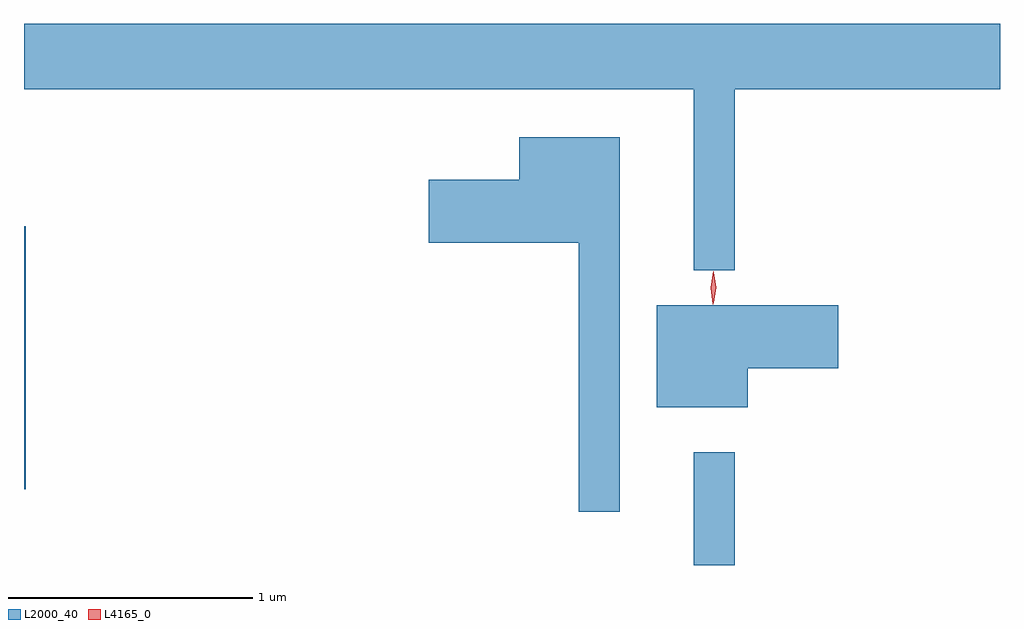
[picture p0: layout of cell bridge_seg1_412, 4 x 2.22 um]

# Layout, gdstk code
import gdstk
lib = gdstk.Library(unit=1e-6, precision=1e-09)
def R(c, l, rs):  # rectangles x0, y0, x1, y1
    for r in rs: c.add(gdstk.rectangle(r[:2], r[2:], *l))
def P(c, l, *ps):  # polygons
    for p in ps: c.add(gdstk.Polygon(p, *l))
L2000_40 = (2000, 40)
L4165_0 = (4165, 0)

bridge_seg1_412 = lib.new_cell('bridge_seg1_412')
R(bridge_seg1_412, L2000_40, [(319.241,939.804,319.409,940.268), (316.497,940.116,316.504,941.194)])
P(bridge_seg1_412, L2000_40, [(319.409,941.756),(320.497,941.756),(320.497,942.024),(316.497,942.024),(316.497,941.756),(319.241,941.756),(319.241,941.013),(319.409,941.013)],
  [(318.939,941.559),(318.526,941.559),(318.526,941.384),(318.156,941.384),(318.156,941.126),(318.771,941.126),(318.771,940.023),(318.939,940.023)],
  [(319.464,940.611),(319.834,940.611),(319.834,940.869),(319.091,940.869),(319.091,940.451),(319.464,940.451)])
P(bridge_seg1_412, L4165_0, [(319.323,940.88),(319.314,940.943),(319.323,941.006),(319.324,941.007),(319.324,941.006),(319.334,940.943),(319.324,940.88),(319.324,940.88)],
  [(319.32,940.874),(319.32,940.874),(319.311,940.942),(319.322,941.01),(319.322,941.01),(319.322,941.01),(319.331,940.942),(319.321,940.874)])

lib.write_gds('bridge_seg1_412.gds')
